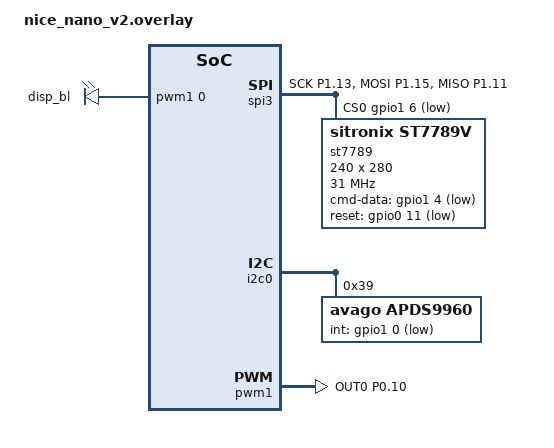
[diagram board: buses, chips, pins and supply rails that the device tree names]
/ {
   pwmleds {
      compatible = "pwm-leds";
      disp_bl: pwm_led_1 {
          pwms = <&pwm1 0 PWM_MSEC(1) PWM_POLARITY_NORMAL>;
      };
  };
};

&spi2 {
   status = "disabled";
};

&pinctrl {
   spi3_default: spi3_default {
		group1 {
			psels = <NRF_PSEL(SPIM_SCK, 1, 13)>,
				<NRF_PSEL(SPIM_MOSI, 1, 15)>,
				<NRF_PSEL(SPIM_MISO, 1, 11)>;
		};
	};

	spi3_sleep: spi3_sleep {
		group1 {
			psels = <NRF_PSEL(SPIM_SCK, 1, 13)>,
				<NRF_PSEL(SPIM_MOSI, 1, 15)>,
				<NRF_PSEL(SPIM_MISO, 1, 11)>;
			low-power-enable;
		};
	};

   pwm1_default: pwm1_default {
      group1 {
         psels = <NRF_PSEL(PWM_OUT0, 0, 10)>;
         nordic,invert;
      };
   };

   pwm1_sleep: pwm1_sleep {
      group1 {
         psels = <NRF_PSEL(PWM_OUT0, 0, 10)>;
         low-power-enable;
      };
   };
};

disp_spi: &spi3 {
   status = "okay";
   pinctrl-0 = <&spi3_default>;
	pinctrl-1 = <&spi3_sleep>;
	pinctrl-names = "default", "sleep";
   cs-gpios = <&gpio1 6 GPIO_ACTIVE_LOW>;

   st7789: st7789v@0 {
       compatible = "sitronix,st7789v";
       spi-max-frequency = <31000000>;
       reg = <0>;
       cmd-data-gpios = <&gpio1 4 GPIO_ACTIVE_LOW>;
       reset-gpios = <&gpio0 11 GPIO_ACTIVE_LOW>;
       width = <240>;
       height = <280>;
       x-offset = <0>;
       y-offset = <20>;
       vcom = <0x19>;
       gctrl = <0x35>;
       vrhs = <0x12>;
       vdvs = <0x20>;
       mdac = <0x00>;
       gamma = <0x01>;
       colmod = <0x05>;
       lcm = <0x2c>;
       porch-param = [ 0c 0c 00 33 33  ];
       cmd2en-param = [ 5a 69 02 01  ];
       pwctrl1-param = [ a4 a1  ];
       pvgam-param = [ D0 04 0D 11 13 2B 3F 54 4C 18 0D 0B 1F 23  ];
       nvgam-param = [ D0 04 0C 11 13 2C 3F 44 51 2F 1F 1F 20 23  ];
       ram-param = [ 00 F0  ];
       rgb-param = [ CD 08 14  ];
   };
};

&i2c0 {
   status = "okay";

   apds9960: apds9960@39 {
       compatible = "avago,apds9960";
       status = "okay";
       reg = <0x39>;
       int-gpios = <&gpio1 0 (GPIO_ACTIVE_LOW | GPIO_PULL_UP)>;
   };
};

&pwm1 {
  status = "okay";
  pinctrl-0 = <&pwm1_default>;
  pinctrl-1 = <&pwm1_sleep>;
  pinctrl-names = "default", "sleep";
};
